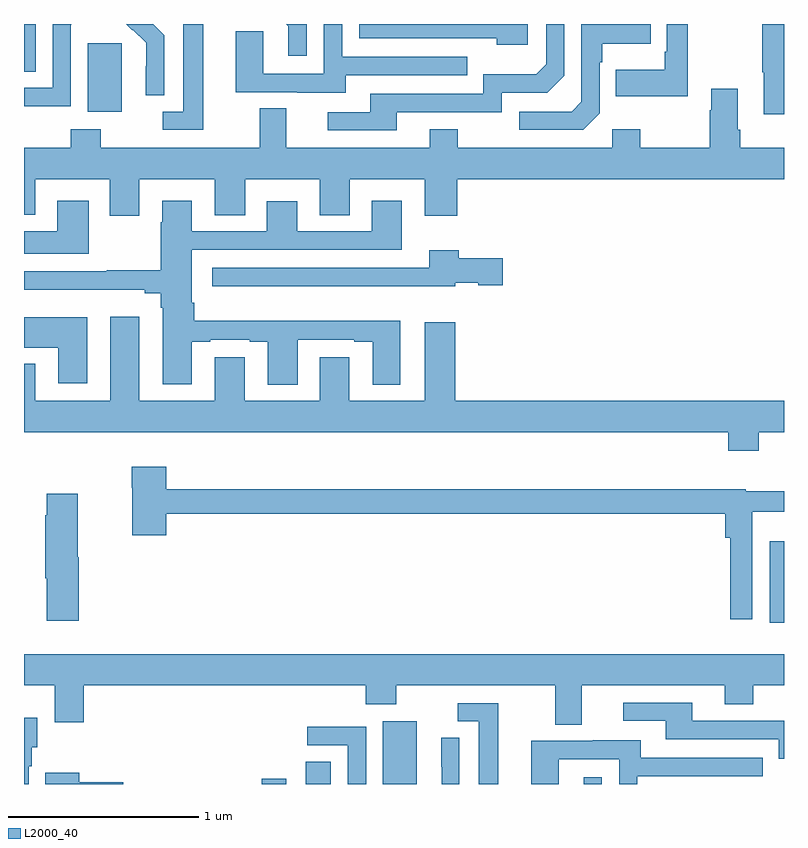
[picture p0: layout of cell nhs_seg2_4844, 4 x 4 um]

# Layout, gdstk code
import gdstk
lib = gdstk.Library(unit=1e-6, precision=1e-09)
def R(c, l, rs):  # rectangles x0, y0, x1, y1
    for r in rs: c.add(gdstk.rectangle(r[:2], r[2:], *l))
def P(c, l, *ps):  # polygons
    for p in ps: c.add(gdstk.Polygon(p, *l))
L2000_40 = (2000, 40)

nhs_seg2_4844 = lib.new_cell('nhs_seg2_4844')
R(nhs_seg2_4844, L2000_40, [(376.25,629.8,376.38,629.828), (376.484,629.8,376.615,629.918), (376.889,629.8,377.068,630.13), (377.945,629.8,378.042,629.836), (378.926,630.648,379,631.078), (375.335,633.338,375.514,633.699), (375,633.55,375.061,633.8)])
P(nhs_seg2_4844, L2000_40, [(379,633.8),(378.886,633.8),(378.886,633.547),(378.893,633.547),(378.893,633.324),(379,633.324)],
  [(376.963,633.336),(377.514,633.336),(377.514,633.438),(377.754,633.438),(377.844,633.528),(377.844,633.8),(377.748,633.8),(377.748,633.588),(377.695,633.535),(377.418,633.535),(377.418,633.432),(376.823,633.432),(376.823,633.336),(376.599,633.336),(376.599,633.24),(376.963,633.24)],
  [(378.03,633.33),(378.03,633.599),(378.043,633.599),(378.043,633.695),(378.299,633.695),(378.299,633.8),(377.934,633.8),(377.934,633.39),(377.883,633.339),(377.607,633.339),(377.607,633.243),(377.943,633.243)],
  [(376.693,633.531),(377.333,633.531),(377.333,633.627),(376.674,633.627),(376.674,633.8),(376.578,633.8),(376.578,633.537),(376.26,633.537),(376.26,633.761),(376.115,633.761),(376.115,633.441),(376.439,633.441),(376.439,633.437),(376.693,633.437)],
  [(377.65,633.8),(376.764,633.8),(376.764,633.726),(377.489,633.726),(377.489,633.692),(377.65,633.692)],
  [(375.738,633.742),(375.68,633.8),(375.538,633.8),(375.57,633.768),(375.573,633.771),(375.644,633.701),(375.644,633.578),(375.642,633.578),(375.642,633.424),(375.738,633.424)],
  [(375.246,633.796),(375.249,633.796),(375.249,633.8),(375.15,633.8),(375.15,633.465),(375,633.465),(375,633.367),(375.246,633.367)],
  [(378.493,633.8),(378.384,633.8),(378.384,633.655),(378.372,633.655),(378.372,633.559),(378.115,633.559),(378.115,633.419),(378.493,633.419)],
  [(376.488,633.8),(376.38,633.8),(376.391,633.789),(376.391,633.633),(376.488,633.633)],
  [(375.943,633.8),(375.839,633.8),(375.839,633.339),(375.729,633.339),(375.729,633.243),(375.943,633.243)],
  [(375.607,632.984),(376.004,632.984),(376.004,632.794),(376.165,632.794),(376.165,632.984),(376.556,632.984),(376.556,632.794),(376.714,632.794),(376.714,632.984),(377.108,632.984),(377.108,632.79),(377.279,632.79),(377.279,632.984),(379,632.984),(379,633.148),(378.77,633.148),(378.77,633.244),(378.757,633.244),(378.757,633.46),(378.617,633.46),(378.617,633.347),(378.61,633.347),(378.61,633.148),(378.243,633.148),(378.243,633.247),(378.096,633.247),(378.096,633.148),(377.283,633.148),(377.283,633.247),(377.135,633.247),(377.135,633.148),(376.381,633.148),(376.381,633.356),(376.241,633.356),(376.241,633.148),(375.405,633.148),(375.405,633.247),(375.245,633.247),(375.245,633.148),(375,633.148),(375,632.795),(375.058,632.795),(375.058,632.984),(375.452,632.984),(375.452,632.79),(375.607,632.79)],
  [(376.441,632.139),(376.739,632.139),(376.739,632.127),(376.835,632.127),(376.835,631.902),(376.981,631.902),(376.981,632.237),(375.896,632.237),(375.896,632.332),(375.883,632.332),(375.883,632.613),(376.987,632.613),(376.987,632.869),(376.829,632.869),(376.829,632.709),(376.438,632.709),(376.438,632.866),(376.277,632.866),(376.277,632.709),(375.883,632.709),(375.883,632.869),(375.728,632.869),(375.728,632.756),(375.721,632.756),(375.721,632.504),(375.436,632.504),(375.436,632.499),(375,632.499),(375,632.402),(375.635,632.402),(375.635,632.383),(375.719,632.383),(375.719,632.306),(375.731,632.306),(375.731,631.905),(375.883,631.905),(375.883,632.127),(375.979,632.127),(375.979,632.139),(376.187,632.139),(376.187,632.127),(376.283,632.127),(376.283,631.901),(376.441,631.901)],
  [(375.34,632.869),(375.176,632.869),(375.176,632.71),(375,632.71),(375,632.591),(375.34,632.591)],
  [(377.271,632.438),(377.39,632.438),(377.39,632.426),(377.521,632.426),(377.521,632.568),(377.288,632.568),(377.288,632.608),(377.132,632.608),(377.132,632.517),(375.99,632.517),(375.99,632.42),(377.271,632.42)],
  [(378.867,631.652),(379,631.652),(379,631.816),(377.269,631.816),(377.269,632.23),(377.108,632.23),(377.108,631.816),(376.711,631.816),(376.711,632.047),(376.556,632.047),(376.556,631.816),(376.162,631.816),(376.162,632.047),(376.004,632.047),(376.004,631.816),(375.607,631.816),(375.607,632.26),(375.455,632.26),(375.455,631.816),(375.058,631.816),(375.058,632.011),(375,632.011),(375,631.652),(378.707,631.652),(378.707,631.553),(378.867,631.553)],
  [(375.334,632.257),(375,632.257),(375,632.096),(375.179,632.096),(375.179,631.908),(375.334,631.908)],
  [(378.834,631.232),(379,631.232),(379,631.342),(378.798,631.342),(378.798,631.351),(375.749,631.351),(375.749,631.471),(375.566,631.471),(375.566,631.358),(375.571,631.358),(375.571,631.11),(375.749,631.11),(375.749,631.222),(378.692,631.222),(378.692,631.097),(378.718,631.097),(378.718,630.666),(378.834,630.666)],
  [(375.287,630.993),(375.282,630.993),(375.282,631.327),(375.119,631.327),(375.119,631.214),(375.112,631.214),(375.112,630.883),(375.119,630.883),(375.119,630.66),(375.287,630.66)],
  [(377.935,630.32),(378.689,630.32),(378.689,630.221),(378.837,630.221),(378.837,630.32),(379,630.32),(379,630.484),(375,630.484),(375,630.32),(375.161,630.32),(375.161,630.126),(375.314,630.126),(375.314,630.32),(376.799,630.32),(376.799,630.221),(376.959,630.221),(376.959,630.32),(377.795,630.32),(377.795,630.112),(377.935,630.112)],
  [(379,630.132),(378.517,630.132),(378.517,630.228),(378.153,630.228),(378.153,630.132),(378.377,630.132),(378.377,630.036),(378.972,630.036),(378.972,629.933),(379,629.933)],
  [(377.497,630.225),(377.283,630.225),(377.283,630.129),(377.393,630.129),(377.393,629.8),(377.497,629.8)],
  [(375.025,629.894),(375.04,629.894),(375.04,629.994),(375.07,629.994),(375.07,630.148),(375,630.148),(375,629.8),(375.025,629.8)],
  [(376.8,630.102),(376.491,630.102),(376.491,630.003),(376.704,630.003),(376.704,629.8),(376.8,629.8)],
  [(377.292,630.044),(377.196,630.044),(377.196,629.89),(377.198,629.89),(377.198,629.8),(377.292,629.8)],
  [(377.814,629.931),(378.132,629.931),(378.132,629.8),(378.228,629.8),(378.228,629.841),(378.887,629.841),(378.887,629.937),(378.247,629.937),(378.247,630.031),(377.993,630.031),(377.993,630.027),(377.669,630.027),(377.669,629.8),(377.814,629.8)],
  [(375.523,629.81),(375.292,629.81),(375.292,629.86),(375.113,629.86),(375.113,629.8),(375.523,629.8)])

lib.write_gds('nhs_seg2_4844.gds')
